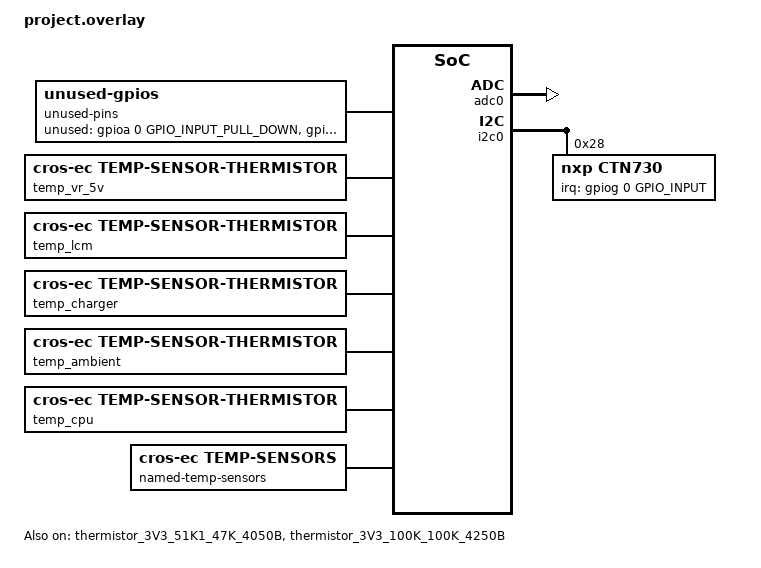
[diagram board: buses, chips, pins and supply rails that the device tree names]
/* Copyright 2025 The ChromiumOS Authors
 * Use of this source code is governed by a BSD-style license that can be
 * found in the LICENSE file.
 */

/* Include the standard and OEM schema templates */
#include <cros/cbi_ufsc_std_schema.dtsi>
#include <cros/cbi_ufsc_oem_schema.dtsi>

#include <cros/cbi_flash.dtsi>
#include <cros/thermistor/thermistor.dtsi>

#include "../arbitrage.dtsi"
#include "../common.dtsi"
#include "../pdc.dtsi"
#include "../generated.dtsi"
#include "../interrupts.dtsi"
#include "../keyboard.dtsi"
#include "../overlay.dtsi"
#include "../power_signal.dtsi"
#include "led.dtsi"
#include "sapphire_ec_ufsc.dtsi"
#include <sapphire/overlay.dtsi>

/ {
	aliases {
		gpio-btn-ign-in = &gpio_usb_fp_btn_ign;
	};

	batteries {
		default_battery: sunwoda_l25d2pk6 {
			compatible = "sunwoda,l25d2pk6", "battery-smart";
		};
		atl_l25n2pk6 {
			compatible = "atl,l25n2pk6", "battery-smart";
		};
	};

	named-adc-channels {
		/delete-node/ ec_adc0;
		/delete-node/ ec_adc1;
		/delete-node/ ec_adc6;

		adc_temp_lcm: temp_sensor_lcm {
			enum-name = "ADC_TEMP_SENSOR_2";
			io-channels = <&adc0 0>;
		};
		adc_temp_sensor_5: temp_sensor5 {
			enum-name = "ADC_TEMP_SENSOR_5";
			io-channels = <&adc0 1>;
		};
		adc_temp_sensor_1: temp_sensor1 {
			enum-name = "ADC_TEMP_SENSOR_1";
			io-channels = <&adc0 4>;
		};
		adc_cc_lid_base_adc: cc_lid_base_adc {
			enum-name = "ADC_BASE_DET";
			io-channels = <&adc0 5>;
		};
		adc_temp_sensor_3: temp_sensor3 {
			enum-name = "ADC_TEMP_SENSOR_3";
			io-channels = <&adc0 6>;
		};
		adc_temp_sensor_4: temp_sensor4 {
			enum-name = "ADC_TEMP_SENSOR_4";
			io-channels = <&adc0 7>;
		};
	};

	named-gpios {
		/delete-node/ ec_gpa7;
		/delete-node/ fp_btn_ign;
		/delete-node/ pen_int_odl;
		/delete-node/ pen_rst_l;
		/delete-node/ ec_gpg1;
		/delete-node/ ec_led1_odl;
		/delete-node/ ec_led2_odl;
		/delete-node/ ec_gpd3;
		/delete-node/ en_cc_lid_base_pu_r;
		/delete-node/ ec_gpd1;
		/delete-node/ ec_gph1;
		/delete-node/ ec_hid_int_odl;
		/delete-node/ rsvd_kso17;

		gsc_ec_voldn_btn_odl {
			gpios = <&gpioe 3 (GPIO_INPUT | GPIO_PULL_UP)>;
		};
		gsc_ec_volup_btn_odl {
			gpios = <&gpioe 4 (GPIO_INPUT | GPIO_PULL_UP)>;
		};
		gpio_ap_bl_en_odl: gpio_ap_bl_en_odl{
			gpios = <&gpiod 7 (GPIO_INPUT | GPIO_VOLTAGE_1P8)>;
		};
		gpio_ec_tchscr_report_en_od: ec_tchscr_report_en_od {
			gpios = <&gpioa 7 (GPIO_OUTPUT | GPIO_OPEN_DRAIN | GPIO_OUTPUT_INIT_LOW)>;
		};
		gpio_pen_int_odl: pen_int_odl {
			gpios = <&gpiog 0 GPIO_INPUT>;
			enum-name = "GPIO_WPC_IRQ";
		};
		gpio_pen_rst_l: pen_rst_l {
			gpios = <&gpiog 3 (GPIO_OUTPUT | GPIO_ACTIVE_LOW | GPIO_OUTPUT_INIT_HIGH)>;
			enum-name = "GPIO_WLC_NRST_CONN";
		};
		gpio_pen_pres: pen_pres_odl {
			gpios = <&gpiog 1 (GPIO_INPUT)>;
			enum-name = "GPIO_HALL_CTL_PCHG";
		};
		gpio_pp5000_wlc_en: pp5000_wlc_en {
			gpios = <&gpiod 3 (GPIO_OUTPUT)>;
		};
		gpio_pp1800_wlc_en: pp1800_wlc_en {
			gpios = <&gpioa 1 (GPIO_OUTPUT | GPIO_OUTPUT_INIT_LOW)>;
		};
		imu_int_ec_l {
			gpios = <&gpiod 0 (GPIO_INPUT | GPIO_VOLTAGE_1P8)>;
		};
		gpio_ec_pac_en_odl: ec_pac_en_odl {
			gpios = <&gpioc 5 (GPIO_OUTPUT | GPIO_OPEN_DRAIN | GPIO_OUTPUT_INIT_HIGH)>;
		};
		gpio_usb_fp_btn_ign: usb_fp_btn_ign {
			gpios = <&gpioe 1 (GPIO_INPUT)>;
		};
		gpio_ec_pogo_low_pwr_sw: ec_pogo_low_pwr_sw{
			gpios = <&gpioe 2 (GPIO_OUTPUT | GPIO_OUTPUT_INIT_LOW)>;
		};
	};

	unused-pins {
		compatible = "unused-gpios";

		unused-gpios =
			<&gpioa 0 GPIO_INPUT_PULL_DOWN>,
			<&gpioa 3 GPIO_INPUT_PULL_DOWN>,
			<&gpiod 1 GPIO_INPUT_PULL_DOWN>,
			<&gpiof 0 GPIO_INPUT_PULL_DOWN>,
			<&gpiof 1 GPIO_INPUT_PULL_DOWN>,
			<&gpioh 1 GPIO_INPUT_PULL_DOWN>;
	};

	gpio-interrupts {
		/delete-node/ ec-imu;
		/delete-node/ ec_als_rgb;

		int_ap_bl_en: int_ap_bl_en{
			irq-pin = <&gpio_ap_bl_en_odl>;
			flags = <GPIO_INT_EDGE_BOTH>;
			handler = "ap_bl_en_interrupt";
		};
		int_wpc: wpc{
			irq-pin = <&gpio_pen_int_odl>;
			flags = <GPIO_INT_EDGE_RISING>;
			handler = "pchg_irq";
		};
		int_batt_pres_en: batt_pres_int{
			irq-pin = <&gpio_ec_batt_pres_odl>;
			flags = <GPIO_INT_EDGE_BOTH>;
			handler = "batt_pres_interrupt";
		};
		wpc_lid_irq: wpc_lid_irq{
			irq-pin = <&gpio_pen_pres>;
			flags = <GPIO_INT_EDGE_BOTH>;
			handler = "wpc_hall_interrupt";
		};
	};

	temp_vr_5v: vr_5v {
		compatible = "cros-ec,temp-sensor-thermistor";
		thermistor = <&thermistor_3V3_51K1_47K_4050B>;
		adc = <&adc_temp_sensor_1>;
	};
	temp_lcm: lcm {
		 compatible = "cros-ec,temp-sensor-thermistor";
		 thermistor = <&thermistor_3V3_100K_100K_4250B>;
		 adc = <&adc_temp_lcm>;
	 };
	temp_charger: charger {
		compatible = "cros-ec,temp-sensor-thermistor";
		thermistor = <&thermistor_3V3_51K1_47K_4050B>;
		adc = <&adc_temp_sensor_3>;
	};
	temp_ambient: ambient {
		compatible = "cros-ec,temp-sensor-thermistor";
		thermistor = <&thermistor_3V3_51K1_47K_4050B>;
		adc = <&adc_temp_sensor_4>;
	};
	temp_cpu: cpu {
		compatible = "cros-ec,temp-sensor-thermistor";
		thermistor = <&thermistor_3V3_51K1_47K_4050B>;
		adc = <&adc_temp_sensor_5>;
	};

	named-temp-sensors {
		compatible = "cros-ec,temp-sensors";
		vr_5v {
			sensor = <&temp_vr_5v>;
		};
		lcm {
			sensor = <&temp_lcm>;
		};
		charger {
			sensor = <&temp_charger>;
		};
		ambient {
			sensor = <&temp_ambient>;
		};
		cpu {
			sensor = <&temp_cpu>;
		};
	};
};

&adc0 {
	status = "okay";
	pinctrl-0 = <&adc0_ch0_gpi0_default
		&adc0_ch1_gpi1_default
		&adc0_ch2_gpi2_default
		&adc0_ch3_gpi3_default
		&adc0_ch4_gpi4_default
		&adc0_ch5_gpi5_default
		&adc0_ch6_gpi6_default
		&adc0_ch7_gpi7_default>;
	pinctrl-names = "default";
};

&thermistor_3V3_51K1_47K_4050B {
	status = "okay";
};

&thermistor_3V3_100K_100K_4250B {
	status = "okay";
};

&i2c0 {
	ctn730@28 {
		compatible = "nxp,ctn730";
		reg = <0x28>;
		irq-gpios=<&gpiog 0 GPIO_INPUT>;
		rf-charge-msec = <1000>;
		full-percent = <100>;
	};
};

&i2c_ap_i2c_ec_scl_1v8 {
	status = "disabled";
};

&pdc_power_p0 {
       usb-comm-capable-as-device;
};
